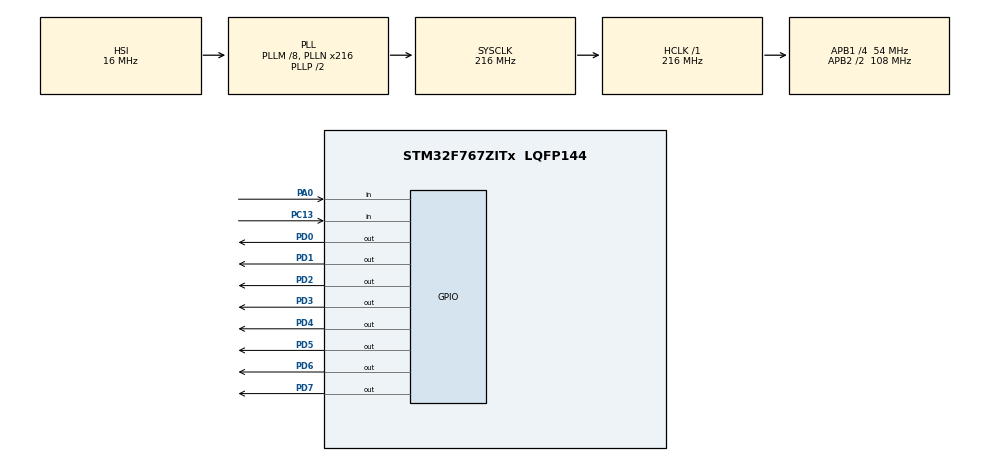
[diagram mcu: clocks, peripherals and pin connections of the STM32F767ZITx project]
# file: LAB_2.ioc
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CORTEX_M7.default_mode_Activation=1
Mcu.Family=STM32F7
Mcu.Name=STM32F767ZITx
Mcu.Package=LQFP144
NVIC.PriorityGroup=NVIC_PRIORITYGROUP_4
PA0/WKUP.Signal=GPIO_Input
PC13.Signal=GPIO_Input
PD0.Signal=GPIO_Output
PD1.Signal=GPIO_Output
PD2.Signal=GPIO_Output
PD3.Signal=GPIO_Output
PD4.Signal=GPIO_Output
PD5.Signal=GPIO_Output
PD6.Signal=GPIO_Output
PD7.Signal=GPIO_Output
ProjectManager.HeapSize=0x200
ProjectManager.StackSize=0x400
ProjectManager.TargetToolchain=STM32CubeIDE
RCC.AHBFreq_Value=216000000
RCC.APB1CLKDivider=RCC_HCLK_DIV4
RCC.APB1Freq_Value=54000000
RCC.APB1TimFreq_Value=108000000
RCC.APB2CLKDivider=RCC_HCLK_DIV2
RCC.APB2Freq_Value=108000000
RCC.APB2TimFreq_Value=216000000
RCC.CortexFreq_Value=216000000
RCC.HCLKFreq_Value=216000000
RCC.HSE_VALUE=25000000
RCC.HSI_VALUE=16000000
RCC.LSE_VALUE=32768
RCC.PLLM=8
RCC.PLLN=216
RCC.SYSCLKFreq_VALUE=216000000
RCC.SYSCLKSource=RCC_SYSCLKSOURCE_PLLCLK
RCC.USBFreq_Value=216000000
RCC.VCOOutputFreq_Value=432000000
board=custom

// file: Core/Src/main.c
/* USER CODE BEGIN Header */
/**
  ******************************************************************************
  * @file           : main.c
  * @brief          : Main program body
  ******************************************************************************
  * @attention
  *
  * Copyright (c) 2025 STMicroelectronics.
  * All rights reserved.
  *
  * This software is licensed under terms that can be found in the LICENSE file
  * in the root directory of this software component.
  * If no LICENSE file comes with this software, it is provided AS-IS.
  *
  ******************************************************************************
  */
/* USER CODE END Header */
#include "main.h"

/* USER CODE BEGIN PV */
uint8_t n=0;
/* USER CODE END PV */

void SystemClock_Config(void);
static void MPU_Config(void);
static void MX_GPIO_Init(void);

int main(void)
{

  /* MPU Configuration--------------------------------------------------------*/
  MPU_Config();

  /* MCU Configuration--------------------------------------------------------*/

  /* Reset of all peripherals, Initializes the Flash interface and the Systick. */
  HAL_Init();

  /* Configure the system clock */
  SystemClock_Config();

  /* Initialize all configured peripherals */
  MX_GPIO_Init();

  /* Infinite loop */
  while (1)
  {

    /* USER CODE BEGIN 3 */
	  if (HAL_GPIO_ReadPin(GPIOC, GPIO_PIN_13) == 1) {
		  if (n >= 8)
		  	n = 0;

		  GPIOD->BSRR = 0x00FF0000;
		  GPIOD->BSRR = 0x00000001 << n;

		  n += 1;
	  }

	  if (HAL_GPIO_ReadPin(GPIOA, GPIO_PIN_0) == 0) {
		  uint32_t odr;

		  for (uint8_t i=0; i<=7; i++) {
			  odr = GPIOD->ODR;

			  GPIOD->BSRR = 0x00FF0000;

			  if (odr == 0 || odr == 1) {
				  GPIOD->BSRR = 0x00000080;
			  } else if(odr > 0){
				  GPIOD->BSRR = odr >> 1;
			  } else {
				  GPIOD->BSRR = 0x00000080 >> i;

				  if (i == 7)
					  GPIOD->BSRR = 0x00000001;
			  }

			  HAL_Delay(300);
		  }

		  if (n == 0) {
			  GPIOD->BSRR = 0x00FF0000;
		  }
	  }

	  HAL_Delay(100);
  }
  /* USER CODE END 3 */
}

void SystemClock_Config(void)
{
  RCC_OscInitTypeDef RCC_OscInitStruct = {0};
  RCC_ClkInitTypeDef RCC_ClkInitStruct = {0};

  /** Configure the main internal regulator output voltage
  */
  __HAL_RCC_PWR_CLK_ENABLE();
  __HAL_PWR_VOLTAGESCALING_CONFIG(PWR_REGULATOR_VOLTAGE_SCALE1);

  /** Initializes the RCC Oscillators according to the specified parameters
  * in the RCC_OscInitTypeDef structure.
  */
  RCC_OscInitStruct.OscillatorType = RCC_OSCILLATORTYPE_HSI;
  RCC_OscInitStruct.HSIState = RCC_HSI_ON;
  RCC_OscInitStruct.HSICalibrationValue = RCC_HSICALIBRATION_DEFAULT;
  RCC_OscInitStruct.PLL.PLLState = RCC_PLL_ON;
  RCC_OscInitStruct.PLL.PLLSource = RCC_PLLSOURCE_HSI;
  RCC_OscInitStruct.PLL.PLLM = 8;
  RCC_OscInitStruct.PLL.PLLN = 216;
  RCC_OscInitStruct.PLL.PLLP = RCC_PLLP_DIV2;
  RCC_OscInitStruct.PLL.PLLQ = 2;
  RCC_OscInitStruct.PLL.PLLR = 2;
  if (HAL_RCC_OscConfig(&RCC_OscInitStruct) != HAL_OK)
  {
    Error_Handler();
  }

  /** Activate the Over-Drive mode
  */
  if (HAL_PWREx_EnableOverDrive() != HAL_OK)
  {
    Error_Handler();
  }

  /** Initializes the CPU, AHB and APB buses clocks
  */
  RCC_ClkInitStruct.ClockType = RCC_CLOCKTYPE_HCLK|RCC_CLOCKTYPE_SYSCLK
                              |RCC_CLOCKTYPE_PCLK1|RCC_CLOCKTYPE_PCLK2;
  RCC_ClkInitStruct.SYSCLKSource = RCC_SYSCLKSOURCE_PLLCLK;
  RCC_ClkInitStruct.AHBCLKDivider = RCC_SYSCLK_DIV1;
  RCC_ClkInitStruct.APB1CLKDivider = RCC_HCLK_DIV4;
  RCC_ClkInitStruct.APB2CLKDivider = RCC_HCLK_DIV2;

  if (HAL_RCC_ClockConfig(&RCC_ClkInitStruct, FLASH_LATENCY_7) != HAL_OK)
  {
    Error_Handler();
  }
}

static void MX_GPIO_Init(void)
{
  GPIO_InitTypeDef GPIO_InitStruct = {0};

  /* GPIO Ports Clock Enable */
  __HAL_RCC_GPIOC_CLK_ENABLE();
  __HAL_RCC_GPIOA_CLK_ENABLE();
  __HAL_RCC_GPIOD_CLK_ENABLE();

  /*Configure GPIO pin Output Level */
  HAL_GPIO_WritePin(GPIOD, GPIO_PIN_0|GPIO_PIN_1|GPIO_PIN_2|GPIO_PIN_3
                          |GPIO_PIN_4|GPIO_PIN_5|GPIO_PIN_6|GPIO_PIN_7, GPIO_PIN_RESET);

  /*Configure GPIO pin : PC13 */
  GPIO_InitStruct.Pin = GPIO_PIN_13;
  GPIO_InitStruct.Mode = GPIO_MODE_INPUT;
  GPIO_InitStruct.Pull = GPIO_NOPULL;
  HAL_GPIO_Init(GPIOC, &GPIO_InitStruct);

  /*Configure GPIO pin : PA0 */
  GPIO_InitStruct.Pin = GPIO_PIN_0;
  GPIO_InitStruct.Mode = GPIO_MODE_INPUT;
  GPIO_InitStruct.Pull = GPIO_NOPULL;
  HAL_GPIO_Init(GPIOA, &GPIO_InitStruct);

  /*Configure GPIO pins : PD0 PD1 PD2 PD3
                           PD4 PD5 PD6 PD7 */
  GPIO_InitStruct.Pin = GPIO_PIN_0|GPIO_PIN_1|GPIO_PIN_2|GPIO_PIN_3
                          |GPIO_PIN_4|GPIO_PIN_5|GPIO_PIN_6|GPIO_PIN_7;
  GPIO_InitStruct.Mode = GPIO_MODE_OUTPUT_PP;
  GPIO_InitStruct.Pull = GPIO_NOPULL;
  GPIO_InitStruct.Speed = GPIO_SPEED_FREQ_LOW;
  HAL_GPIO_Init(GPIOD, &GPIO_InitStruct);

}

 /* MPU Configuration */

void MPU_Config(void)
{
  MPU_Region_InitTypeDef MPU_InitStruct = {0};

  /* Disables the MPU */
  HAL_MPU_Disable();

  /** Initializes and configures the Region and the memory to be protected
  */
  MPU_InitStruct.Enable = MPU_REGION_ENABLE;
  MPU_InitStruct.Number = MPU_REGION_NUMBER0;
  MPU_InitStruct.BaseAddress = 0x0;
  MPU_InitStruct.Size = MPU_REGION_SIZE_4GB;
  MPU_InitStruct.SubRegionDisable = 0x87;
  MPU_InitStruct.TypeExtField = MPU_TEX_LEVEL0;
  MPU_InitStruct.AccessPermission = MPU_REGION_NO_ACCESS;
  MPU_InitStruct.DisableExec = MPU_INSTRUCTION_ACCESS_DISABLE;
  MPU_InitStruct.IsShareable = MPU_ACCESS_SHAREABLE;
  MPU_InitStruct.IsCacheable = MPU_ACCESS_NOT_CACHEABLE;
  MPU_InitStruct.IsBufferable = MPU_ACCESS_NOT_BUFFERABLE;

  HAL_MPU_ConfigRegion(&MPU_InitStruct);
  /* Enables the MPU */
  HAL_MPU_Enable(MPU_PRIVILEGED_DEFAULT);

}

void Error_Handler(void)
{
  __disable_irq();
  while (1)
  {
  }
}
